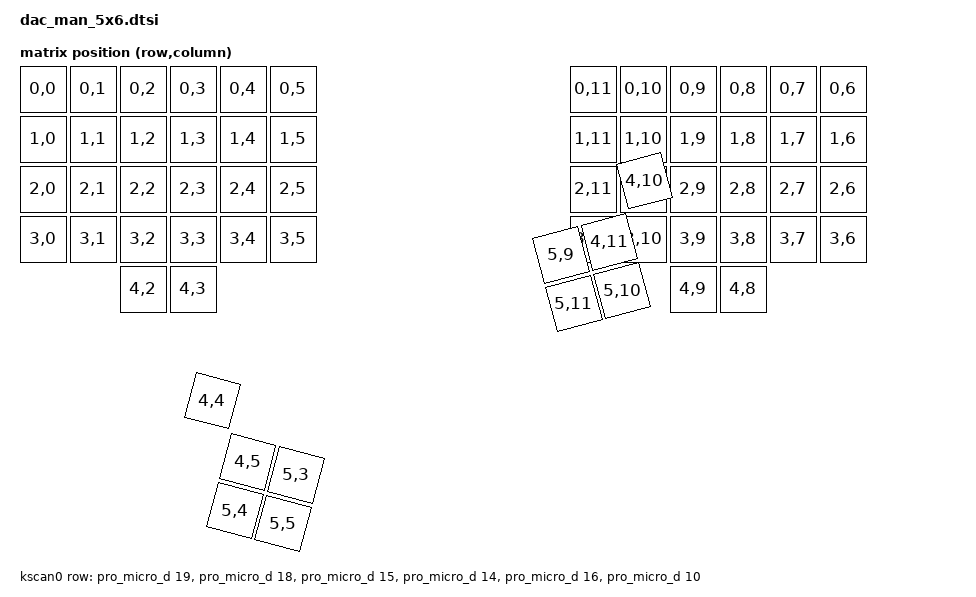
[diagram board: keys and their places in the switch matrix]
#include <physical_layouts.dtsi>
#include <dt-bindings/zmk/matrix_transform.h>

/ {
    layout_5x6_5: layout_5x6_5 {
        compatible = "zmk,physical-layout";
        display-name = "5x6 5";

        kscan = <&kscan0>;
        transform = <&default_transform>;

        keys  //                     w   h    x    y     rot    rx    ry
            = <&key_physical_attrs 100 100    0    0       0     0     0>
            , <&key_physical_attrs 100 100  100    0       0     0     0>
            , <&key_physical_attrs 100 100  200    0       0     0     0>
            , <&key_physical_attrs 100 100  300    0       0     0     0>
            , <&key_physical_attrs 100 100  400    0       0     0     0>
            , <&key_physical_attrs 100 100  500    0       0     0     0>
            , <&key_physical_attrs 100 100 1100    0       0     0     0>
            , <&key_physical_attrs 100 100 1200    0       0     0     0>
            , <&key_physical_attrs 100 100 1300    0       0     0     0>
            , <&key_physical_attrs 100 100 1400    0       0     0     0>
            , <&key_physical_attrs 100 100 1500    0       0     0     0>
            , <&key_physical_attrs 100 100 1600    0       0     0     0>
            , <&key_physical_attrs 100 100    0  100       0     0     0>
            , <&key_physical_attrs 100 100  100  100       0     0     0>
            , <&key_physical_attrs 100 100  200  100       0     0     0>
            , <&key_physical_attrs 100 100  300  100       0     0     0>
            , <&key_physical_attrs 100 100  400  100       0     0     0>
            , <&key_physical_attrs 100 100  500  100       0     0     0>
            , <&key_physical_attrs 100 100 1100  100       0     0     0>
            , <&key_physical_attrs 100 100 1200  100       0     0     0>
            , <&key_physical_attrs 100 100 1300  100       0     0     0>
            , <&key_physical_attrs 100 100 1400  100       0     0     0>
            , <&key_physical_attrs 100 100 1500  100       0     0     0>
            , <&key_physical_attrs 100 100 1600  100       0     0     0>
            , <&key_physical_attrs 100 100    0  200       0     0     0>
            , <&key_physical_attrs 100 100  100  200       0     0     0>
            , <&key_physical_attrs 100 100  200  200       0     0     0>
            , <&key_physical_attrs 100 100  300  200       0     0     0>
            , <&key_physical_attrs 100 100  400  200       0     0     0>
            , <&key_physical_attrs 100 100  500  200       0     0     0>
            , <&key_physical_attrs 100 100 1100  200       0     0     0>
            , <&key_physical_attrs 100 100 1200  200       0     0     0>
            , <&key_physical_attrs 100 100 1300  200       0     0     0>
            , <&key_physical_attrs 100 100 1400  200       0     0     0>
            , <&key_physical_attrs 100 100 1500  200       0     0     0>
            , <&key_physical_attrs 100 100 1600  200       0     0     0>
            , <&key_physical_attrs 100 100    0  300       0     0     0>
            , <&key_physical_attrs 100 100  100  300       0     0     0>
            , <&key_physical_attrs 100 100  200  300       0     0     0>
            , <&key_physical_attrs 100 100  300  300       0     0     0>
            , <&key_physical_attrs 100 100  400  300       0     0     0>
            , <&key_physical_attrs 100 100  500  300       0     0     0>
            , <&key_physical_attrs 100 100 1100  300       0     0     0>
            , <&key_physical_attrs 100 100 1200  300       0     0     0>
            , <&key_physical_attrs 100 100 1300  300       0     0     0>
            , <&key_physical_attrs 100 100 1400  300       0     0     0>
            , <&key_physical_attrs 100 100 1500  300       0     0     0>
            , <&key_physical_attrs 100 100 1600  300       0     0     0>
            , <&key_physical_attrs 100 100  200  400       0     0     0>
            , <&key_physical_attrs 100 100  300  400       0     0     0>
            , <&key_physical_attrs 100 100 1300  400       0     0     0>
            , <&key_physical_attrs 100 100 1400  400       0     0     0>
            , <&key_physical_attrs 100 100  500  500    1500     0     0>
            , <&key_physical_attrs 100 100 1100  500 (-1500)     0     0>
            , <&key_physical_attrs 100 100  600  600    1500     0     0>
            , <&key_physical_attrs 100 100  700  600    1500     0     0>
            , <&key_physical_attrs 100 100  900  600 (-1500)     0     0>
            , <&key_physical_attrs 100 100 1000  600 (-1500)     0     0>
            , <&key_physical_attrs 100 100  600  700    1500     0     0>
            , <&key_physical_attrs 100 100  700  700    1500     0     0>
            , <&key_physical_attrs 100 100  900  700 (-1500)     0     0>
            , <&key_physical_attrs 100 100 1000  700 (-1500)     0     0>
            ;
    };

    position_map {
        compatible = "zmk,physical-layout-position-map";

        layout_5x6_5 {
            physical-layout = <&layout_5x6_5>;
            positions = <>;
        };
    };

    kscan0: kscan {
        compatible = "zmk,kscan-gpio-matrix";
        label = "KSCAN";

        diode-direction = "col2row";
        row-gpios
            = <&pro_micro_d 19  (GPIO_ACTIVE_HIGH | GPIO_PULL_DOWN)>
            , <&pro_micro_d 18  (GPIO_ACTIVE_HIGH | GPIO_PULL_DOWN)>
            , <&pro_micro_d 15 (GPIO_ACTIVE_HIGH | GPIO_PULL_DOWN)>
            , <&pro_micro_d 14 (GPIO_ACTIVE_HIGH | GPIO_PULL_DOWN)>
            , <&pro_micro_d 16 (GPIO_ACTIVE_HIGH | GPIO_PULL_DOWN)>
            , <&pro_micro_d 10 (GPIO_ACTIVE_HIGH | GPIO_PULL_DOWN)>
            ;
    };

    default_transform: keymap_transform_0 {
        compatible = "zmk,matrix-transform";
        columns = <12>;
        rows = <6>;
        
	map = <
RC(0,0) RC(0,1) RC(0,2) RC(0,3) RC(0,4) RC(0,5)                   RC(0,11) RC(0,10) RC(0,9) RC(0,8) RC(0,7) RC(0,6)
RC(1,0) RC(1,1) RC(1,2) RC(1,3) RC(1,4) RC(1,5)                   RC(1,11) RC(1,10) RC(1,9) RC(1,8) RC(1,7) RC(1,6)
RC(2,0) RC(2,1) RC(2,2) RC(2,3) RC(2,4) RC(2,5)                   RC(2,11) RC(2,10) RC(2,9) RC(2,8) RC(2,7) RC(2,6)
RC(3,0) RC(3,1) RC(3,2) RC(3,3) RC(3,4) RC(3,5)                   RC(3,11) RC(3,10) RC(3,9) RC(3,8) RC(3,7) RC(3,6)
                RC(4,2) RC(4,3)                                                     RC(4,9) RC(4,8)
                                RC(4,4)                                    RC(4,10)
                                        RC(4,5) RC(5,3)  RC(5,9) RC(4,11)
                                        RC(5,4) RC(5,5)  RC(5,11) RC(5,10)
        >;
    };
};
